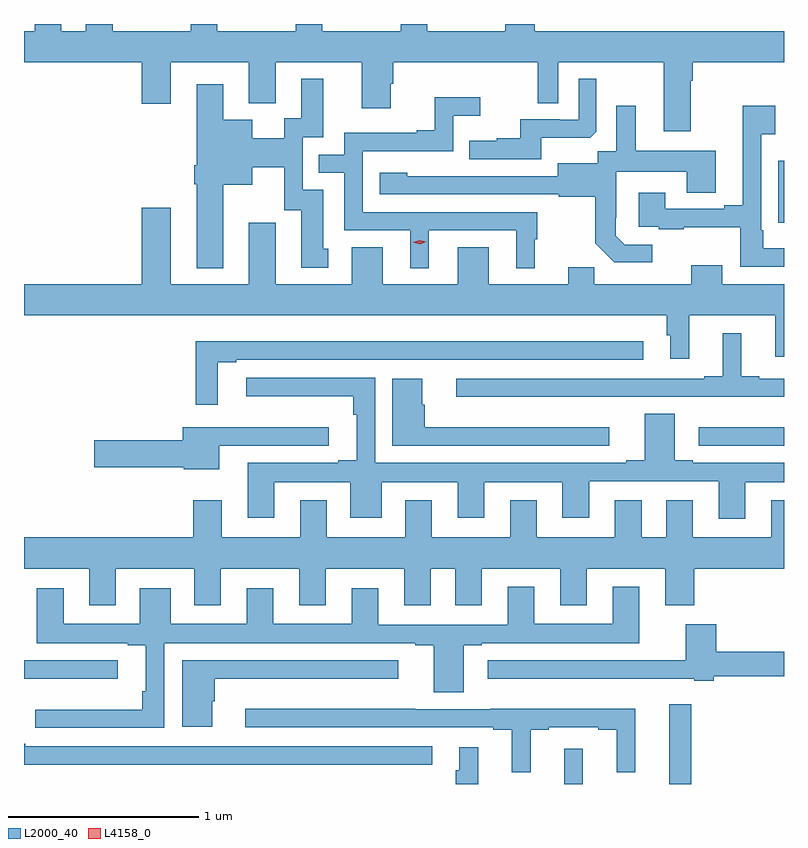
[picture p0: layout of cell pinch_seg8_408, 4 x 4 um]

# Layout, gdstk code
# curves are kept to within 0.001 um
import gdstk
lib = gdstk.Library(unit=1e-6, precision=1e-09)
def R(c, l, rs):  # rectangles x0, y0, x1, y1
    for r in rs: c.add(gdstk.rectangle(r[:2], r[2:], *l))
def P(c, l, *ps):  # polygons
    for p in ps: c.add(gdstk.Polygon(p, *l))
L2000_40 = (2000, 40)
L4158_0 = (4158, 0)

pinch_seg8_408 = lib.new_cell('pinch_seg8_408')
R(pinch_seg8_408, L2000_40, [(506.138,1114.034,506.237,1114.219), (506.69,1114.034,506.807,1114.453), (503.295,1114.589,503.788,1114.686), (506.847,1115.814,507.295,1115.911), (507.264,1116.989,507.295,1117.315)])
P(pinch_seg8_408, L2000_40, [(504.865,1118.034),(504.725,1118.034),(504.725,1117.996),(504.313,1117.996),(504.313,1118.034),(504.173,1118.034),(504.173,1117.996),(503.761,1117.996),(503.761,1118.034),(503.621,1118.034),(503.621,1117.996),(503.491,1117.996),(503.491,1118.034),(503.351,1118.034),(503.351,1117.996),(503.295,1117.996),(503.295,1117.832),(503.915,1117.832),(503.915,1117.614),(504.067,1117.614),(504.067,1117.832),(504.479,1117.832),(504.479,1117.616),(504.619,1117.616),(504.619,1117.832),(505.073,1117.832),(505.073,1117.59),(505.225,1117.59),(505.225,1117.719),(505.238,1117.719),(505.238,1117.832),(505.998,1117.832),(505.998,1117.618),(506.106,1117.618),(506.106,1117.832),(506.663,1117.832),(506.663,1117.47),(506.803,1117.47),(506.803,1117.736),(506.816,1117.736),(506.816,1117.832),(507.295,1117.832),(507.295,1117.996),(505.982,1117.996),(505.982,1118.034),(505.829,1118.034),(505.829,1117.996),(505.417,1117.996),(505.417,1118.034),(505.277,1118.034),(505.277,1117.996),(504.865,1117.996)],
  [(504.343,1117.187),(504.496,1117.187),(504.496,1117.28),(504.666,1117.28),(504.666,1117.053),(504.755,1117.053),(504.755,1116.75),(504.895,1116.75),(504.895,1116.852),(504.871,1116.852),(504.871,1117.161),(504.762,1117.161),(504.762,1117.437),(504.871,1117.437),(504.871,1117.747),(504.755,1117.747),(504.755,1117.538),(504.665,1117.538),(504.665,1117.432),(504.496,1117.432),(504.496,1117.531),(504.343,1117.531),(504.343,1117.717),(504.203,1117.717),(504.203,1117.291),(504.191,1117.291),(504.191,1117.191),(504.203,1117.191),(504.203,1116.749),(504.343,1116.749)],
  [(506.017,1117.436),(506.275,1117.436),(506.307,1117.467),(506.307,1117.747),(506.214,1117.747),(506.214,1117.53),(506.114,1117.53),(506.114,1117.533),(505.907,1117.533),(505.907,1117.432),(505.783,1117.432),(505.783,1117.42),(505.639,1117.42),(505.639,1117.323),(506.017,1117.323)],
  [(505.426,1116.948),(505.886,1116.948),(505.886,1116.749),(505.984,1116.749),(505.984,1116.9),(505.996,1116.9),(505.996,1117.044),(505.077,1117.044),(505.077,1117.365),(505.554,1117.365),(505.554,1117.55),(505.696,1117.55),(505.696,1117.649),(505.456,1117.649),(505.456,1117.474),(505.361,1117.474),(505.361,1117.461),(504.981,1117.461),(504.981,1117.347),(504.847,1117.347),(504.847,1117.251),(504.981,1117.251),(504.981,1116.948),(505.328,1116.948),(505.328,1116.749),(505.426,1116.749)],
  [(506.602,1116.873),(506.457,1116.873),(506.41,1116.92),(506.41,1117.015),(506.412,1117.015),(506.412,1117.256),(506.783,1117.256),(506.783,1117.147),(506.935,1117.147),(506.935,1117.366),(506.515,1117.366),(506.515,1117.603),(506.411,1117.603),(506.411,1117.364),(506.316,1117.364),(506.316,1117.3),(506.105,1117.3),(506.105,1117.233),(505.311,1117.234),(505.311,1117.252),(505.167,1117.252),(505.167,1117.137),(506.109,1117.137),(506.109,1117.125),(506.301,1117.125),(506.301,1116.879),(506.401,1116.779),(506.602,1116.779)],
  [(507.295,1116.853),(507.187,1116.853),(507.187,1116.949),(507.174,1116.949),(507.174,1117.454),(507.25,1117.454),(507.25,1117.603),(507.077,1117.603),(507.077,1117.081),(506.981,1117.081),(506.981,1117.062),(506.671,1117.062),(506.671,1117.147),(506.531,1117.147),(506.531,1116.966),(506.635,1116.966),(506.635,1116.954),(506.767,1116.954),(506.767,1116.965),(507.066,1116.965),(507.066,1116.756),(507.295,1116.756)],
  [(506.795,1116.5),(507.248,1116.5),(507.248,1116.282),(507.295,1116.282),(507.295,1116.664),(506.971,1116.664),(506.971,1116.763),(506.807,1116.763),(506.807,1116.664),(506.297,1116.664),(506.297,1116.755),(506.159,1116.755),(506.159,1116.664),(505.741,1116.664),(505.741,1116.859),(505.577,1116.859),(505.577,1116.664),(505.183,1116.664),(505.183,1116.859),(505.019,1116.859),(505.019,1116.664),(504.619,1116.664),(504.619,1116.988),(504.479,1116.988),(504.479,1116.664),(504.067,1116.664),(504.067,1117.066),(503.915,1117.066),(503.915,1116.664),(503.295,1116.664),(503.295,1116.5),(506.677,1116.5),(506.677,1116.395),(506.696,1116.395),(506.696,1116.273),(506.795,1116.273)],
  [(506.465,1116.072),(506.859,1116.072),(506.859,1116.071),(507.295,1116.071),(507.295,1116.168),(507.166,1116.168),(507.166,1116.181),(507.071,1116.181),(507.071,1116.406),(506.972,1116.406),(506.972,1116.181),(506.876,1116.181),(506.876,1116.168),(505.569,1116.168),(505.569,1116.071),(506.465,1116.071)],
  [(504.316,1116.255),(504.412,1116.255),(504.412,1116.267),(506.554,1116.267),(506.554,1116.364),(504.199,1116.364),(504.199,1116.03),(504.316,1116.03)],
  [(507.091,1115.623),(507.295,1115.623),(507.295,1115.724),(506.815,1115.724),(506.815,1115.737),(506.719,1115.737),(506.719,1115.983),(506.561,1115.983),(506.561,1115.737),(506.465,1115.737),(506.465,1115.724),(505.143,1115.724),(505.143,1116.171),(504.465,1116.171),(504.465,1116.074),(505.027,1116.074),(505.027,1115.978),(505.046,1115.978),(505.046,1115.737),(504.95,1115.737),(504.95,1115.724),(504.473,1115.724),(504.473,1115.436),(504.613,1115.436),(504.613,1115.623),(505.013,1115.623),(505.013,1115.436),(505.177,1115.436),(505.177,1115.623),(505.577,1115.623),(505.577,1115.436),(505.717,1115.436),(505.717,1115.623),(506.129,1115.623),(506.129,1115.436),(506.269,1115.436),(506.269,1115.628),(506.951,1115.628),(506.951,1115.43),(507.091,1115.43)],
  [(506.374,1115.911),(505.403,1115.911),(505.403,1116.03),(505.39,1116.03),(505.39,1116.166),(505.232,1116.166),(505.232,1115.814),(506.374,1115.814)],
  [(504.322,1115.814),(504.898,1115.814),(504.898,1115.911),(504.131,1115.911),(504.131,1115.843),(503.664,1115.843),(503.664,1115.701),(504.135,1115.701),(504.135,1115.69),(504.322,1115.69)],
  [(503.779,1115.168),(504.191,1115.168),(504.191,1114.974),(504.331,1114.974),(504.331,1115.168),(504.743,1115.168),(504.743,1114.974),(504.883,1114.974),(504.883,1115.168),(505.295,1115.168),(505.295,1114.974),(505.435,1114.974),(505.435,1115.168),(505.565,1115.168),(505.565,1114.974),(505.705,1114.974),(505.705,1115.168),(506.117,1115.168),(506.117,1114.974),(506.257,1114.974),(506.257,1115.168),(506.669,1115.168),(506.669,1114.974),(506.822,1114.974),(506.822,1115.168),(507.295,1115.168),(507.295,1115.527),(507.227,1115.527),(507.227,1115.332),(506.815,1115.332),(506.815,1115.527),(506.675,1115.527),(506.675,1115.332),(506.545,1115.332),(506.545,1115.527),(506.405,1115.527),(506.405,1115.332),(505.993,1115.332),(505.993,1115.527),(505.853,1115.527),(505.853,1115.332),(505.441,1115.332),(505.441,1115.527),(505.301,1115.527),(505.301,1115.332),(504.889,1115.332),(504.889,1115.527),(504.749,1115.527),(504.749,1115.332),(504.337,1115.332),(504.337,1115.527),(504.185,1115.527),(504.185,1115.332),(503.295,1115.332),(503.295,1115.168),(503.639,1115.168),(503.639,1114.974),(503.779,1114.974)],
  [(504.033,1114.776),(505.355,1114.776),(505.355,1114.764),(505.451,1114.764),(505.451,1114.518),(505.609,1114.518),(505.609,1114.764),(505.705,1114.764),(505.705,1114.776),(506.533,1114.776),(506.533,1115.071),(506.393,1115.071),(506.393,1114.877),(505.981,1114.877),(505.981,1115.071),(505.841,1115.071),(505.841,1114.872),(505.159,1114.872),(505.159,1115.065),(505.019,1115.065),(505.019,1114.877),(504.607,1114.877),(504.607,1115.065),(504.467,1115.065),(504.467,1114.877),(504.067,1114.877),(504.067,1115.065),(503.903,1115.065),(503.903,1114.877),(503.503,1114.877),(503.503,1115.065),(503.363,1115.065),(503.363,1114.776),(503.84,1114.776),(503.84,1114.764),(503.936,1114.764),(503.936,1114.522),(503.917,1114.522),(503.917,1114.426),(503.355,1114.426),(503.355,1114.329),(504.033,1114.329)],
  [(506.926,1114.6),(507.295,1114.6),(507.295,1114.729),(506.939,1114.729),(506.939,1114.876),(506.777,1114.876),(506.777,1114.686),(505.737,1114.686),(505.737,1114.589),(506.822,1114.589),(506.822,1114.578),(506.926,1114.578)],
  [(504.286,1114.47),(504.299,1114.47),(504.299,1114.589),(505.264,1114.589),(505.264,1114.686),(504.128,1114.686),(504.128,1114.335),(504.286,1114.335)],
  [(505.961,1114.32),(506.056,1114.32),(506.056,1114.332),(506.318,1114.332),(506.318,1114.32),(506.414,1114.32),(506.414,1114.095),(506.513,1114.095),(506.513,1114.429),(505.749,1114.429),(505.749,1114.428),(505.355,1114.428),(505.355,1114.429),(504.459,1114.429),(504.459,1114.332),(505.766,1114.332),(505.766,1114.32),(505.862,1114.32),(505.862,1114.095),(505.961,1114.095)],
  [(505.444,1114.233),(503.302,1114.233),(503.302,1114.246),(503.295,1114.246),(503.295,1114.136),(505.444,1114.136)],
  [(505.685,1114.228),(505.586,1114.228),(505.586,1114.106),(505.567,1114.106),(505.567,1114.034),(505.685,1114.034)])
P(pinch_seg8_408, L4158_0, [(505.377,1116.876),(505.341,1116.885),(505.341,1116.885),(505.341,1116.885),(505.377,1116.896),(505.413,1116.887),(505.413,1116.887),(505.413,1116.887)])

lib.write_gds('pinch_seg8_408.gds')
